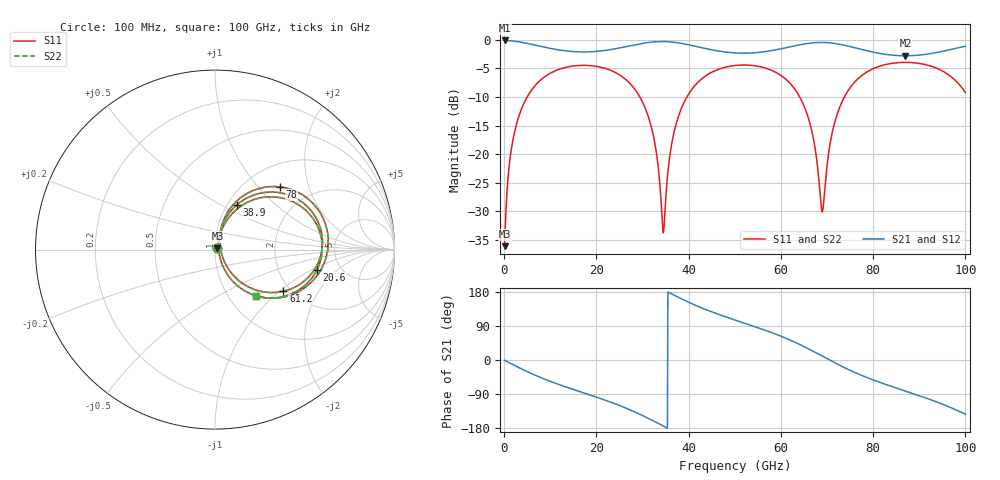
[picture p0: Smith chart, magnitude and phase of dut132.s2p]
! Touchstone file exported from HFSS 2026.1.0
!  File:  C:/ffzhzh/LocalFiles/Ansys_Project_Files/temp_train_TSV_RDL_132_1783460721_34316.aedt
!  Generated:  05:53:43 AM Jul  8, 2026
!  Design:  TSV_RDL
!  Project:  temp_train_TSV_RDL_132_1783460721_34316
! Variables:
!  h_bsmrdl = 2.07um
!  h_ox = 20um
!  h_rdl = 5um
!  h_sub = 58.47um
!  h_tmrdl = 3.65um
!  h_tsv = 58.47um
!  h_via = 3um
!  l_bsmrdl = 222.39um
!  l_sub = 1715.04um
!  l_tmrdl = 141.98um
!  m_sub = 200um
!  pitch = 50.36um
!  r_tsv = 9.29um
!  s_tmrdl = 10um
!  w_bsmrdl = 14.4um
!  w_sub = 500um
!  w_tmrdl = 12.25um
!  x_tsv_center1 = 148.105um
!  x_tsv_center2 = 384.895um
!  x_tsv_center3 = 539.125um
!  x_tsv_center4 = 775.915um
!  x_tsv_center5 = 930.145um
!  x_tsv_center6 = 1166.935um
# GHz S MA R 50.000000
! Terminal data exported
! Port[1] = TM_RDL1_1_T1
! Port[2] = TM_RDL5_1_T1
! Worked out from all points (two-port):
!   1000 points, 100 MHz to 100 GHz, reference 50 ohm
!   highest |S21| = -0.12 dB at 100 MHz (marker M1); lowest = -2.8 dB at 87 GHz (marker M2)
!   |S21| within 3 dB of the highest: start of sweep to end of sweep
!   lowest |S11| = -36.1 dB at 100 MHz (marker M3), VSWR 1.03, Z = 51.4 + j0.743 ohm
!   |S11| at or under -10 dB: start of sweep to 4.992 GHz; 29.41 GHz to 39.62 GHz (10.21 GHz wide, 29.6 % of centre); 64.08 GHz to 73.77 GHz (9.692 GHz wide, 14.1 % of centre)
!   |S22| runs from -36.1 to -4.0 dB; largest |S21 - S12| = 1.7e-14
!   S11 on the Smith chart (normalised r, x): 100 MHz: 1.03, +0.01; 20.6 GHz: 3.34, -1.13; 38.9 GHz: 1.11, +0.60; 61.2 GHz: 1.83, -1.06; 78 GHz: 1.41, +1.32; 100 GHz: 1.34, -0.78
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0.1  0.01566 27.5  0.9862 -0.7  0.9862 -0.7  0.01566 27.5
! Gamma 0 0 0 0
! Port Impedance 50 0 50 0
1.6  0.1128 71.2  0.977 -10.3  0.977 -10.3  0.1128 71.2
4.3  0.279 59.5  0.9417 -26.7  0.9417 -26.7  0.279 59.5
9.4  0.4932 34.3  0.8501 -53.5  0.8501 -53.5  0.4932 34.3
16.8  0.5973 3.7  0.7829 -85.0  0.7829 -85.0  0.5973 3.7
20.6  0.5792 -11.2  0.7956 -100.4  0.7956 -100.4  0.5792 -11.2
29.3  0.3218 -50.6  0.9192 -142.5  0.9192 -142.5  0.3218 -50.6
31.8  0.1795 -62.2  0.9524 -157.3  0.9524 -157.3  0.1795 -62.2
33.4  0.0774 -63.2  0.9633 -167.2  0.9633 -167.2  0.07742 -63.2
34.6  0.02138 20.4  0.9646 -174.8  0.9646 -174.8  0.02133 20.4
36.4  0.1275 73.7  0.9549 173.9  0.9549 173.9  0.1275 73.7
38.9  0.2779 63.9  0.9223 158.8  0.9223 158.8  0.2778 63.9
43.7  0.4836 40.8  0.8373 133.2  0.8373 133.2  0.4836 40.8
50.1  0.5958 14.3  0.7672 105.3  0.7672 105.3  0.5957 14.3
61.2  0.4466 -31.3  0.8535 56.9  0.8535 56.9  0.4465 -31.3
66.7  0.1594 -55.1  0.9379 25.0  0.9379 25.0  0.1594 -54.9
69  0.03125 13.8  0.9475 10.1  0.9475 10.1  0.0316 13.9
72.2  0.2232 71.1  0.9211 -10.5  0.9211 -10.5  0.2234 71.0
78  0.5023 44.1  0.8131 -43.0  0.8131 -43.0  0.5024 44.0
83.4  0.6153 21.5  0.7394 -67.3  0.7394 -67.3  0.6154 21.4
87  0.6341 7.7  0.7247 -81.9  0.7247 -81.9  0.6342 7.6
100  0.345 -48.3  0.8785 -143.1  0.8785 -143.1  0.3451 -48.3
